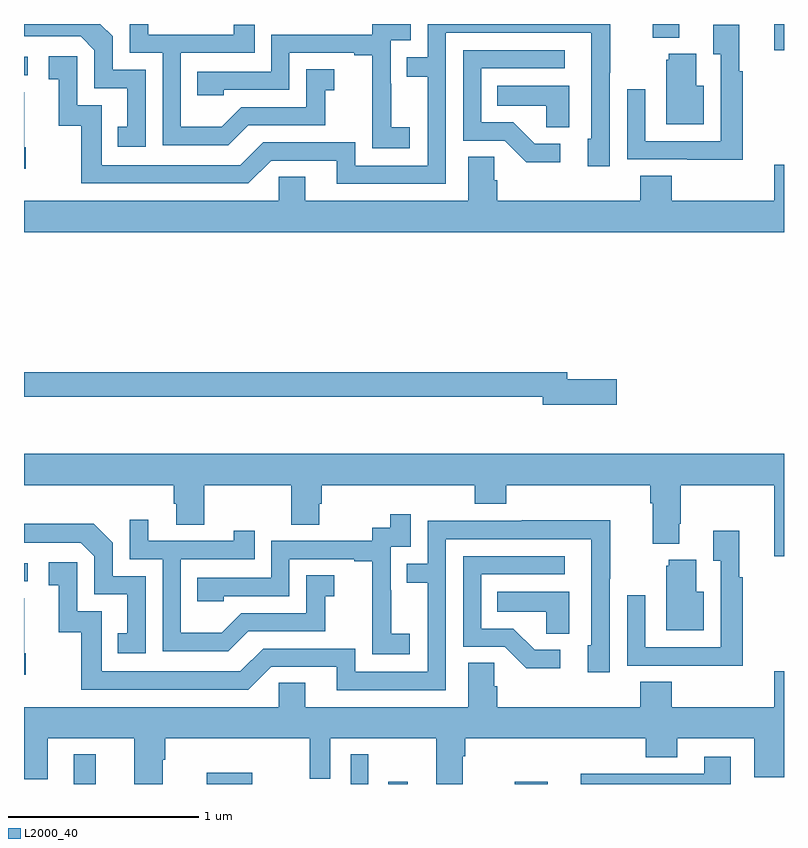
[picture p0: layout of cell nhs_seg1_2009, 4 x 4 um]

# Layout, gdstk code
import gdstk
lib = gdstk.Library(unit=1e-6, precision=1e-09)
def R(c, l, rs):  # rectangles x0, y0, x1, y1
    for r in rs: c.add(gdstk.rectangle(r[:2], r[2:], *l))
def P(c, l, *ps):  # polygons
    for p in ps: c.add(gdstk.Polygon(p, *l))
L2000_40 = (2000, 40)

nhs_seg1_2009 = lib.new_cell('nhs_seg1_2009')
R(nhs_seg1_2009, L2000_40, [(221.261,510.199,221.377,510.355), (221.962,510.199,222.202,510.257), (222.72,510.199,222.813,510.355), (222.917,510.199,223.021,510.211), (223.583,510.199,223.756,510.211), (221,511.266,221.02,511.362), (221,513.93,221.02,514.026), (224.948,514.062,225,514.199), (224.309,514.127,224.449,514.199)])
P(nhs_seg1_2009, L2000_40, [(223.03,513.655),(222.932,513.655),(222.932,513.884),(222.93,513.884),(222.93,514.113),(223.035,514.113),(223.035,514.199),(222.834,514.199),(222.834,514.143),(222.3,514.143),(222.3,513.948),(221.911,513.948),(221.911,513.825),(222.051,513.825),(222.051,513.852),(222.396,513.852),(222.396,514.047),(222.737,514.047),(222.737,514.035),(222.833,514.035),(222.833,513.751),(222.832,513.751),(222.832,513.545),(223.03,513.545)],
  [(221.64,513.957),(221.466,513.957),(221.466,514.134),(221.401,514.199),(221,514.199),(221,514.134),(221.298,514.134),(221.37,514.062),(221.37,513.861),(221.543,513.861),(221.543,513.657),(221.494,513.657),(221.494,513.552),(221.64,513.552)],
  [(223.221,514.152),(223.986,514.152),(223.986,513.594),(223.967,513.594),(223.967,513.45),(224.082,513.45),(224.082,513.943),(224.085,513.943),(224.085,514.199),(223.125,514.199),(223.125,514.023),(223.015,514.023),(223.015,513.922),(223.125,513.922),(223.125,513.453),(222.744,513.453),(222.744,513.576),(222.258,513.576),(222.138,513.456),(221.409,513.456),(221.409,513.771),(221.28,513.771),(221.28,514.03),(221.13,514.03),(221.13,513.909),(221.183,513.909),(221.183,513.663),(221.301,513.663),(221.301,513.36),(222.18,513.36),(222.3,513.48),(222.647,513.48),(222.647,513.357),(223.221,513.357)],
  [(222.181,513.666),(222.585,513.666),(222.585,513.851),(222.634,513.851),(222.634,513.961),(222.486,513.961),(222.486,513.762),(222.144,513.762),(222.04,513.658),(221.826,513.658),(221.826,514.047),(222.215,514.047),(222.215,514.195),(222.104,514.195),(222.104,514.143),(221.653,514.143),(221.653,514.199),(221.556,514.199),(221.556,514.047),(221.73,514.047),(221.73,513.561),(222.076,513.561)],
  [(224.783,513.95),(224.765,513.95),(224.765,514.195),(224.627,514.195),(224.627,514.039),(224.667,514.039),(224.667,513.582),(224.271,513.582),(224.271,513.856),(224.175,513.856),(224.175,513.486),(224.491,513.486),(224.491,513.485),(224.783,513.485)],
  [(223.822,513.57),(223.687,513.57),(223.576,513.681),(223.407,513.681),(223.407,513.966),(223.846,513.966),(223.846,514.062),(223.311,514.062),(223.311,513.585),(223.53,513.585),(223.643,513.472),(223.822,513.472)],
  [(224.578,513.874),(224.539,513.874),(224.539,514.042),(224.393,514.042),(224.393,514.011),(224.381,514.011),(224.381,513.671),(224.578,513.671)],
  [(223.87,513.874),(223.492,513.874),(223.492,513.77),(223.749,513.77),(223.749,513.655),(223.87,513.655)],
  [(221.01,513.55),(221.002,513.55),(221.002,513.841),(221,513.841),(221,513.438),(221.01,513.438)],
  [(225,513.457),(224.948,513.457),(224.948,513.268),(224.408,513.268),(224.408,513.401),(224.243,513.401),(224.243,513.268),(223.49,513.268),(223.49,513.377),(223.476,513.377),(223.476,513.5),(223.337,513.5),(223.337,513.268),(222.481,513.268),(222.481,513.395),(222.342,513.395),(222.342,513.268),(221,513.268),(221,513.104),(225,513.104)],
  [(224.119,512.33),(223.858,512.33),(223.858,512.366),(221,512.366),(221,512.238),(223.73,512.238),(223.73,512.195),(224.119,512.195)],
  [(221,511.772),(221.789,511.772),(221.789,511.674),(221.801,511.674),(221.801,511.564),(221.949,511.564),(221.949,511.772),(222.406,511.772),(222.406,511.564),(222.553,511.564),(222.553,511.674),(222.566,511.674),(222.566,511.772),(223.373,511.772),(223.373,511.673),(223.538,511.673),(223.538,511.772),(224.297,511.772),(224.297,511.676),(224.309,511.676),(224.309,511.463),(224.449,511.463),(224.449,511.57),(224.457,511.57),(224.457,511.772),(224.948,511.772),(224.948,511.398),(225,511.398),(225,511.936),(221,511.936)],
  [(223.03,510.991),(222.932,510.991),(222.932,511.22),(222.93,511.22),(222.93,511.449),(223.035,511.449),(223.035,511.618),(222.927,511.618),(222.927,511.548),(222.834,511.548),(222.834,511.479),(222.3,511.479),(222.3,511.284),(221.911,511.284),(221.911,511.161),(222.051,511.161),(222.051,511.188),(222.396,511.188),(222.396,511.383),(222.737,511.383),(222.737,511.371),(222.833,511.371),(222.833,511.087),(222.832,511.087),(222.832,510.881),(223.03,510.881)],
  [(222.181,511.002),(222.585,511.002),(222.585,511.187),(222.634,511.187),(222.634,511.297),(222.486,511.297),(222.486,511.098),(222.144,511.098),(222.04,510.994),(221.826,510.994),(221.826,511.383),(222.215,511.383),(222.215,511.531),(222.104,511.531),(222.104,511.479),(221.653,511.479),(221.653,511.591),(221.556,511.591),(221.556,511.383),(221.73,511.383),(221.73,510.897),(222.076,510.897)],
  [(223.221,511.488),(223.986,511.488),(223.986,510.93),(223.967,510.93),(223.967,510.786),(224.082,510.786),(224.082,511.279),(224.085,511.279),(224.085,511.586),(223.621,511.586),(223.621,511.584),(223.125,511.584),(223.125,511.359),(223.015,511.359),(223.015,511.258),(223.125,511.258),(223.125,510.789),(222.744,510.789),(222.744,510.912),(222.258,510.912),(222.138,510.792),(221.409,510.792),(221.409,511.107),(221.28,511.107),(221.28,511.366),(221.13,511.366),(221.13,511.245),(221.183,511.245),(221.183,510.999),(221.301,510.999),(221.301,510.696),(222.18,510.696),(222.3,510.816),(222.647,510.816),(222.647,510.693),(223.221,510.693)],
  [(221.64,511.293),(221.466,511.293),(221.466,511.47),(221.368,511.568),(221,511.568),(221,511.47),(221.298,511.47),(221.37,511.398),(221.37,511.197),(221.543,511.197),(221.543,510.993),(221.494,510.993),(221.494,510.888),(221.64,510.888)],
  [(224.783,511.286),(224.765,511.286),(224.765,511.531),(224.627,511.531),(224.627,511.375),(224.667,511.375),(224.667,510.918),(224.271,510.918),(224.271,511.192),(224.175,511.192),(224.175,510.822),(224.491,510.822),(224.491,510.821),(224.783,510.821)],
  [(223.822,510.906),(223.687,510.906),(223.576,511.017),(223.407,511.017),(223.407,511.302),(223.846,511.302),(223.846,511.398),(223.311,511.398),(223.311,510.921),(223.53,510.921),(223.643,510.809),(223.822,510.809)],
  [(224.578,511.21),(224.539,511.21),(224.539,511.378),(224.393,511.378),(224.393,511.347),(224.381,511.347),(224.381,511.007),(224.578,511.007)],
  [(223.87,511.21),(223.492,511.21),(223.492,511.106),(223.749,511.106),(223.749,510.991),(223.87,510.991)],
  [(221.01,510.886),(221.002,510.886),(221.002,511.177),(221,511.177),(221,510.774),(221.01,510.774)],
  [(221.731,510.327),(221.744,510.327),(221.744,510.44),(222.504,510.44),(222.504,510.226),(222.612,510.226),(222.612,510.44),(223.169,510.44),(223.169,510.199),(223.309,510.199),(223.309,510.344),(223.322,510.344),(223.322,510.44),(224.273,510.44),(224.273,510.341),(224.437,510.341),(224.437,510.44),(224.843,510.44),(224.843,510.234),(225,510.234),(225,510.793),(224.948,510.793),(224.948,510.604),(224.408,510.604),(224.408,510.737),(224.243,510.737),(224.243,510.604),(223.49,510.604),(223.49,510.713),(223.476,510.713),(223.476,510.836),(223.337,510.836),(223.337,510.604),(222.481,510.604),(222.481,510.731),(222.342,510.731),(222.342,510.604),(221,510.604),(221,510.224),(221.125,510.224),(221.125,510.44),(221.579,510.44),(221.579,510.199),(221.731,510.199)],
  [(224.719,510.343),(224.579,510.343),(224.579,510.252),(224.149,510.252),(224.149,510.254),(223.931,510.254),(223.931,510.199),(224.719,510.199)])

lib.write_gds('nhs_seg1_2009.gds')
